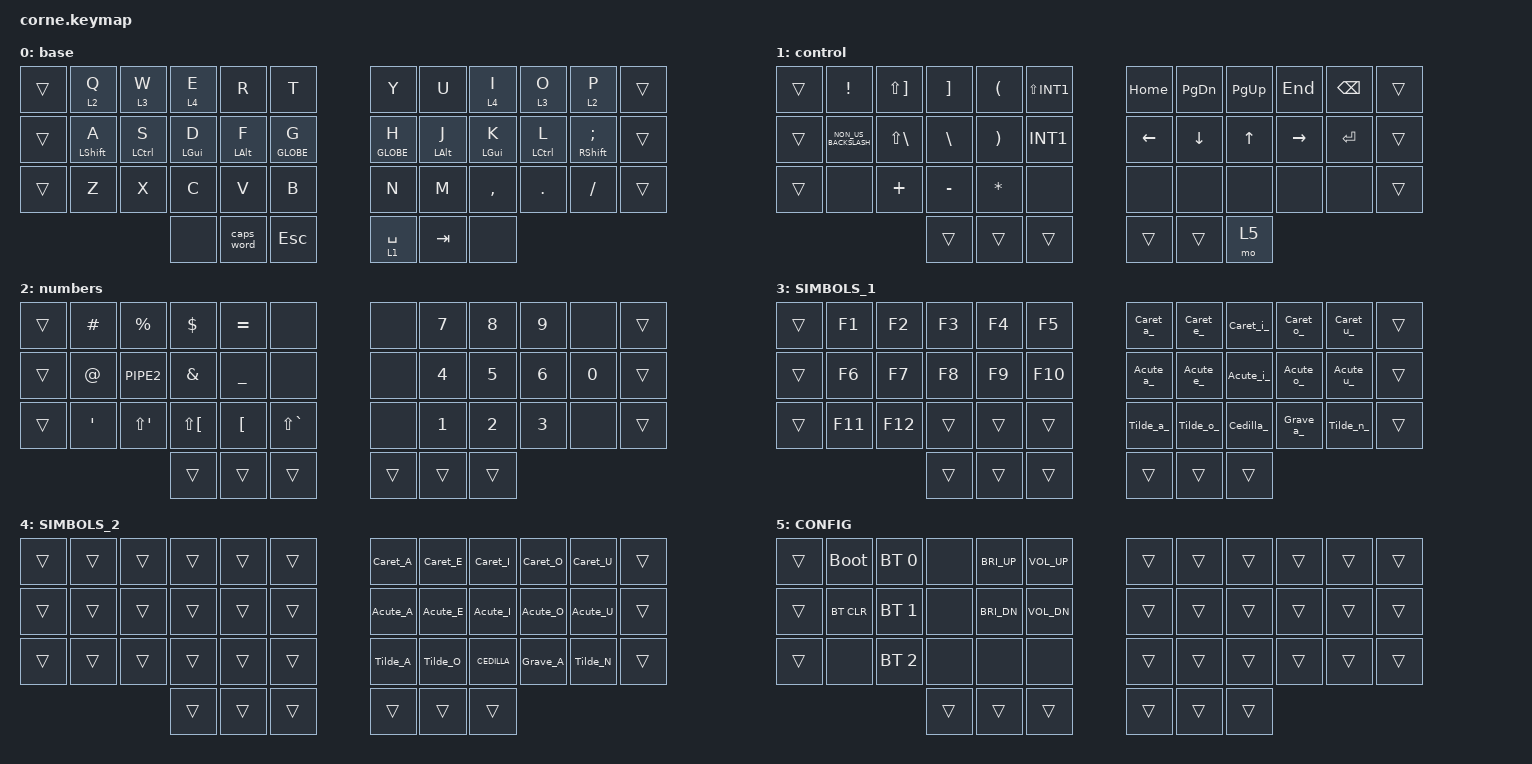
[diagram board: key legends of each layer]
/*
 * Copyright (c) 2020 The ZMK Contributors
 *
 * SPDX-License-Identifier: MIT
 */

#include <behaviors.dtsi>
#include <dt-bindings/zmk/bt.h>
#include <dt-bindings/zmk/keys.h>

&mt {
    tapping-term-ms = <200>;
    flavor = "tap-preferred";
};

/ {
    macros {
        Tilde: Tilde {
            compatible = "zmk,behavior-macro";
            #binding-cells = <0>;
            bindings = <&kp APOS &kp LS(SPACE)>;
            label = "TILDE";
        };

        Tilde_A: Tilde_A {
            compatible = "zmk,behavior-macro";
            #binding-cells = <0>;
            bindings = <&kp APOS &kp LS(A)>;
            label = "TILDE_A";
        };

        Tilde_O: Tilde_O {
            compatible = "zmk,behavior-macro";
            #binding-cells = <0>;
            bindings = <&kp APOS &kp LS(O)>;
            label = "TILDE_O";
        };

        Caret: Caret {
            compatible = "zmk,behavior-macro";
            #binding-cells = <0>;
            bindings = <&kp LS(APOS) &kp SPACE>;
            label = "CARET";
        };

        Caret_A: Caret_A {
            compatible = "zmk,behavior-macro";
            #binding-cells = <0>;
            bindings = <&kp LS(APOS) &kp LS(A)>;
            label = "CARET_A";
        };

        Caret_E: Caret_E {
            compatible = "zmk,behavior-macro";
            #binding-cells = <0>;
            bindings = <&kp LS(APOS) &kp LS(E)>;
            label = "CARET_E";
        };

        Caret_I: Caret_I {
            compatible = "zmk,behavior-macro";
            #binding-cells = <0>;
            bindings = <&kp LS(APOS) &kp LS(I)>;
            label = "CARET_I";
        };

        Caret_O: Caret_O {
            compatible = "zmk,behavior-macro";
            #binding-cells = <0>;
            bindings = <&kp LS(APOS) &kp LS(O)>;
            label = "CARET_O";
        };

        Caret_U: Caret_U {
            compatible = "zmk,behavior-macro";
            #binding-cells = <0>;
            bindings = <&kp LS(APOS) &kp LS(U)>;
            label = "CARET_U";
        };

        Acute: Acute {
            compatible = "zmk,behavior-macro";
            #binding-cells = <0>;
            bindings = <&kp LEFT_BRACKET &kp SPACE>;
            label = "ACUTE";
        };

        Acute_A: Acute_A {
            compatible = "zmk,behavior-macro";
            #binding-cells = <0>;
            bindings = <&kp LEFT_BRACKET &kp LS(A)>;
            label = "ACUTE_A";
        };

        Acute_E: Acute_E {
            compatible = "zmk,behavior-macro";
            #binding-cells = <0>;
            bindings = <&kp LEFT_BRACKET &kp LS(E)>;
            label = "ACUTE_E";
        };

        Acute_I: Acute_I {
            compatible = "zmk,behavior-macro";
            #binding-cells = <0>;
            bindings = <&kp LEFT_BRACKET &kp LS(I)>;
            label = "ACUTE_I";
        };

        Acute_O: Acute_O {
            compatible = "zmk,behavior-macro";
            #binding-cells = <0>;
            bindings = <&kp LEFT_BRACKET &kp LS(O)>;
            label = "ACUTE_O";
        };

        Acute_U: Acute_U {
            compatible = "zmk,behavior-macro";
            #binding-cells = <0>;
            bindings = <&kp LEFT_BRACKET &kp LS(U)>;
            label = "ACUTE_U";
        };

        Grave: Grave {
            compatible = "zmk,behavior-macro";
            #binding-cells = <0>;
            bindings = <&kp LS(LEFT_BRACKET) &kp SPACE>;
            label = "GRAVE";
        };

        Quotes: Quotes {
            compatible = "zmk,behavior-macro";
            #binding-cells = <0>;
            bindings = <&kp LS(GRAVE)>;
            label = "QUOTES";
        };

        CEDILLA: CEDILLA {
            compatible = "zmk,behavior-macro";
            #binding-cells = <0>;
            bindings = <&kp LS(SEMI)>;
            label = "CEDILLA";
        };

        Tilde_N: Tilde_N {
            compatible = "zmk,behavior-macro";
            #binding-cells = <0>;
            bindings = <&kp APOS &kp LS(N)>;
            label = "TILDE_N";
        };

        Cedilla_: Cedilla_ {
            compatible = "zmk,behavior-macro";
            #binding-cells = <0>;
            bindings = <&kp SEMI>;
            label = "CEDILLA_";
        };

        Tilde_n_: Tilde_n_ {
            compatible = "zmk,behavior-macro";
            #binding-cells = <0>;
            bindings = <&kp APOS &kp N>;
            label = "TILDE_N_";
        };

        Tilde_a_: Tilde_a_ {
            compatible = "zmk,behavior-macro";
            #binding-cells = <0>;
            bindings = <&kp APOS &kp A>;
            label = "TILDE_A_";
        };

        Tilde_o_: Tilde_o_ {
            compatible = "zmk,behavior-macro";
            #binding-cells = <0>;
            bindings = <&kp APOS &kp O>;
            label = "TILDE_O_";
        };

        Caret_a_: Caret_a_ {
            compatible = "zmk,behavior-macro";
            #binding-cells = <0>;
            bindings = <&kp LS(APOS) &kp A>;
            label = "CARET_A_";
        };

        Caret_e_: Caret_e_ {
            compatible = "zmk,behavior-macro";
            #binding-cells = <0>;
            bindings = <&kp LS(APOS) &kp E>;
            label = "CARET_E_";
        };

        Caret_i_: Caret_i_ {
            compatible = "zmk,behavior-macro";
            #binding-cells = <0>;
            bindings = <&kp LS(APOS) &kp I>;
            label = "CARET_I_";
        };

        Caret_o_: Caret_o_ {
            compatible = "zmk,behavior-macro";
            #binding-cells = <0>;
            bindings = <&kp LS(APOS) &kp O>;
            label = "CARET_O_";
        };

        Caret_u_: Caret_u_ {
            compatible = "zmk,behavior-macro";
            #binding-cells = <0>;
            bindings = <&kp LS(APOS) &kp U>;
            label = "CARET_U_";
        };

        Acute_a_: Acute_a_ {
            compatible = "zmk,behavior-macro";
            #binding-cells = <0>;
            bindings = <&kp LEFT_BRACKET &kp A>;
            label = "ACUTE_A_";
        };

        Acute_e_: Acute_e_ {
            compatible = "zmk,behavior-macro";
            #binding-cells = <0>;
            bindings = <&kp LEFT_BRACKET &kp E>;
            label = "ACUTE_E_";
        };

        Acute_i_: Acute_i_ {
            compatible = "zmk,behavior-macro";
            #binding-cells = <0>;
            bindings = <&kp LEFT_BRACKET &kp I>;
            label = "ACUTE_I_";
        };

        Acute_o_: Acute_o_ {
            compatible = "zmk,behavior-macro";
            #binding-cells = <0>;
            bindings = <&kp LEFT_BRACKET &kp O>;
            label = "ACUTE_O_";
        };

        Acute_u_: Acute_u_ {
            compatible = "zmk,behavior-macro";
            #binding-cells = <0>;
            bindings = <&kp LEFT_BRACKET &kp U>;
            label = "ACUTE_U_";
        };

        Grave_A: Grave_A {
            compatible = "zmk,behavior-macro";
            #binding-cells = <0>;
            bindings = <&kp LS(LEFT_BRACKET) &kp LS(A)>;
            label = "GRAVE_A";
        };

        Grave_a_: Grave_a_ {
            compatible = "zmk,behavior-macro";
            #binding-cells = <0>;
            bindings = <&kp LS(LEFT_BRACKET) &kp A>;
            label = "GRAVE_A_";
        };

        Zoom_in: Zoom_in {
            compatible = "zmk,behavior-macro";
            #binding-cells = <0>;
            bindings = <&kp LC(MINUS)>;
            label = "ZOOM_IN";
        };

        Zoom_out: Zoom_out {
            compatible = "zmk,behavior-macro";
            #binding-cells = <0>;
            bindings = <&kp LC(PLUS)>;
            label = "ZOOM_OUT";
        };
    };

    keymap {
        compatible = "zmk,keymap";

        base {
            bindings = <
&trans  &lt 2 Q           &lt 3 W             &lt 4 E         &kp R           &kp T          &kp Y        &kp U           &lt 4 I         &lt 3 O             &lt 2 P               &trans
&trans  &mt LEFT_SHIFT A  &mt LEFT_CONTROL S  &mt LEFT_GUI D  &mt LEFT_ALT F  &mt GLOBE G    &mt GLOBE H  &mt LEFT_ALT J  &mt LEFT_GUI K  &mt LEFT_CONTROL L  &mt RIGHT_SHIFT SEMI  &trans
&trans  &kp Z             &kp X               &kp C           &kp V           &kp B          &kp N        &kp M           &kp COMMA       &kp DOT             &kp FSLH              &trans
                                              &none           &caps_word      &kp ESC        &lt 1 SPACE  &kp TAB         &none
            >;
        };

        control {
            bindings = <
&trans  &kp EXCLAMATION       &kp LS(RIGHT_BRACKET)  &kp RIGHT_BRACKET  &kp LEFT_PARENTHESIS   &kp LS(INT1)    &kp HOME  &kp PG_DN  &kp PG_UP  &kp END    &kp BSPC  &trans
&trans  &kp NON_US_BACKSLASH  &kp LS(BACKSLASH)      &kp BACKSLASH      &kp RIGHT_PARENTHESIS  &kp INT1        &kp LEFT  &kp DOWN   &kp UP     &kp RIGHT  &kp RET   &trans
&trans  &none                 &kp PLUS               &kp MINUS          &kp ASTERISK           &none           &none     &none      &none      &none      &none     &trans
                                                     &trans             &trans                 &trans          &trans    &trans     &mo 5
            >;
        };

        numbers {
            bindings = <
&trans  &kp HASH  &kp PERCENT   &kp DOLLAR            &kp EQUAL         &none            &none   &kp N7  &kp N8  &kp N9  &none   &trans
&trans  &kp AT    &kp PIPE2     &kp AMPERSAND         &kp UNDERSCORE    &none            &none   &kp N4  &kp N5  &kp N6  &kp N0  &trans
&trans  &kp APOS  &kp LS(APOS)  &kp LS(LEFT_BRACKET)  &kp LEFT_BRACKET  &kp LS(GRAVE)    &none   &kp N1  &kp N2  &kp N3  &none   &trans
                                &trans                &trans            &trans           &trans  &trans  &trans
            >;
        };

        SIMBOLS_1 {
            bindings = <
&trans  &kp F1   &kp F2   &kp F3  &kp F4  &kp F5     &Caret_a_  &Caret_e_  &Caret_i_  &Caret_o_  &Caret_u_  &trans
&trans  &kp F6   &kp F7   &kp F8  &kp F9  &kp F10    &Acute_a_  &Acute_e_  &Acute_i_  &Acute_o_  &Acute_u_  &trans
&trans  &kp F11  &kp F12  &trans  &trans  &trans     &Tilde_a_  &Tilde_o_  &Cedilla_  &Grave_a_  &Tilde_n_  &trans
                          &trans  &trans  &trans     &trans     &trans     &trans
            >;
        };

        SIMBOLS_2 {
            bindings = <
&trans  &trans  &trans  &trans  &trans  &trans    &Caret_A  &Caret_E  &Caret_I  &Caret_O  &Caret_U  &trans
&trans  &trans  &trans  &trans  &trans  &trans    &Acute_A  &Acute_E  &Acute_I  &Acute_O  &Acute_U  &trans
&trans  &trans  &trans  &trans  &trans  &trans    &Tilde_A  &Tilde_O  &CEDILLA  &Grave_A  &Tilde_N  &trans
                        &trans  &trans  &trans    &trans    &trans    &trans
            >;
        };

        CONFIG {
            bindings = <
&trans  &bootloader  &bt BT_SEL 0  &none   &kp C_BRI_UP  &kp C_VOL_UP    &trans  &trans  &trans  &trans  &trans  &trans
&trans  &bt BT_CLR   &bt BT_SEL 1  &none   &kp C_BRI_DN  &kp C_VOL_DN    &trans  &trans  &trans  &trans  &trans  &trans
&trans  &none        &bt BT_SEL 2  &none   &none         &none           &trans  &trans  &trans  &trans  &trans  &trans
                                   &trans  &trans        &trans          &trans  &trans  &trans
            >;
        };
    };
};
